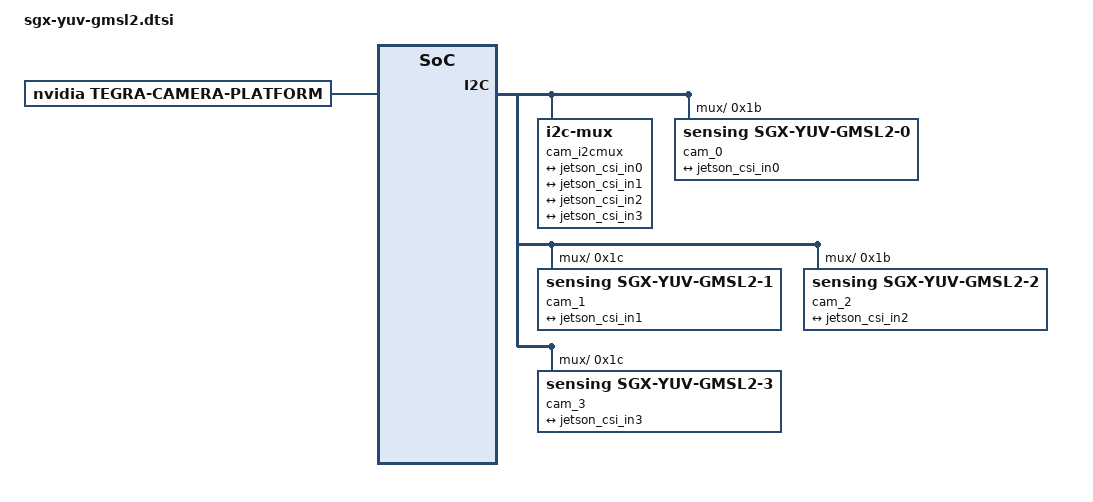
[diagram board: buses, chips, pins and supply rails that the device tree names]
/*
 * Copyright (c) 2022-2023, NVIDIA CORPORATION.  All rights reserved.
 *
 * This program is free software; you can redistribute it and/or modify
 * it under the terms of the GNU General Public License as published by
 * the Free Software Foundation; either version 2 of the License, or
 * (at your option) any later version.
 *
 * This program is distributed in the hope that it will be useful, but WITHOUT
 * ANY WARRANTY; without even the implied warranty of MERCHANTABILITY or
 * FITNESS FOR A PARTICULAR PURPOSE.  See the GNU General Public License for
 * more details.
 *
 * You should have received a copy of the GNU General Public License
 * along with this program.  If not, see <http://www.gnu.org/licenses/>.
 */

/ {
	tegra-capture-vi  {
		num-channels = <4>;
		ports {
			#address-cells = <1>;
			#size-cells = <0>;
			port@0 {
				reg = <0>;
				jetson_vi_in0: endpoint {
					vc-id = <0>;
					port-index = <0>;
					bus-width = <4>;
					remote-endpoint = <&jetson_csi_out0>;
				};
			};
			port@1 {
				reg = <1>;
				jetson_vi_in1: endpoint {
					vc-id = <1>;
					port-index = <0>;
					bus-width = <4>;
					remote-endpoint = <&jetson_csi_out1>;
				};
			};
			port@2 {
				reg = <2>;
				jetson_vi_in2: endpoint {
					vc-id = <0>;
					port-index = <2>;
					bus-width = <4>;
					remote-endpoint = <&jetson_csi_out2>;
				};
			};
			port@3 {
				reg = <3>;
				jetson_vi_in3: endpoint {
					vc-id = <1>;
					port-index = <2>;
					bus-width = <4>;
					remote-endpoint = <&jetson_csi_out3>;
				};
			};
		};
	};

	host1x@13e00000 {
		nvcsi@15a00000 {
			num-channels = <4>;
			#address-cells = <1>;
			#size-cells = <0>;
			channel@0 {
				reg = <0>;
				ports {
					#address-cells = <1>;
					#size-cells = <0>;
					port@0 {
						reg = <0>;
						jetson_csi_in0: endpoint@0 {
							port-index = <0>;
							bus-width = <4>;
							remote-endpoint = <&mipi_cam_out0>;
						};
					};
					port@1 {
						reg = <1>;
						jetson_csi_out0: endpoint@1 {
							remote-endpoint = <&jetson_vi_in0>;
						};
					};
				};
			};
			channel@1 {
				reg = <1>;
				ports {
					#address-cells = <1>;
					#size-cells = <0>;
					port@0 {
						reg = <0>;
						jetson_csi_in1: endpoint@2 {
							port-index = <0>;
							bus-width = <4>;
							remote-endpoint = <&mipi_cam_out1>;
						};
					};
					port@1 {
						reg = <1>;
						jetson_csi_out1: endpoint@3 {
							remote-endpoint = <&jetson_vi_in1>;
						};
					};
				};
			};
			channel@2 {
				reg = <2>;
				ports {
					#address-cells = <1>;
					#size-cells = <0>;
					port@0 {
						reg = <0>;
						jetson_csi_in2: endpoint@4 {
							port-index = <2>;
							bus-width = <4>;
							remote-endpoint = <&mipi_cam_out2>;
						};
					};
					port@1 {
						reg = <1>;
						jetson_csi_out2: endpoint@5 {
							remote-endpoint = <&jetson_vi_in2>;
						};
					};
				};
			};
			channel@3 {
				reg = <3>;
				ports {
					#address-cells = <1>;
					#size-cells = <0>;
					port@0 {
						reg = <0>;
						jetson_csi_in3: endpoint@6 {
							port-index = <2>;
							bus-width = <4>;
							remote-endpoint = <&mipi_cam_out3>;
						};
					};
					port@1 {
						reg = <1>;
						jetson_csi_out3: endpoint@7 {
							remote-endpoint = <&jetson_vi_in3>;
						};
					};
				};
			};
		};
	};

	cam_i2cmux {
		i2c@0 {
			cam_0@1b {
				compatible = "sensing,sgx-yuv-gmsl2-0";
				reg = <0x1b>;
				def-addr = <0x10>;
				devnode = "video0";

				/* Physical dimensions of sensor */
				physical_w = "15.0";
				physical_h = "12.5";

				sensor_model ="sgx-yuv-gmsl2";

				/* Defines number of frames to be dropped by driver internally after applying */
				/* sensor crop settings. Some sensors send corrupt frames after applying */
				/* crop co-ordinates */
				post_crop_frame_drop = "0";

				/* Convert Gain to unit of dB (decibel) befor passing to kernel driver */
				use_decibel_gain = "false";

				/* enable CID_SENSOR_MODE_ID for sensor modes selection */
				use_sensor_mode_id = "true";

				mode0 {/*mode SENSOR_MODE_1920X1080_CROP_30FPS*/
					mclk_khz = "24000";
					num_lanes = "4";
					tegra_sinterface = "serial_c";
					vc_id = "0";
					discontinuous_clk = "no";
					dpcm_enable = "false";
					cil_settletime = "0";
					dynamic_pixel_bit_depth = "16";
					csi_pixel_bit_depth = "16";
					mode_type = "yuv";
					pixel_phase = "uyvy";
					
					active_w = "1920";
					active_h = "1080";
					readout_orientation = "0";
					line_length = "2200";
					inherent_gain = "1";
					pix_clk_hz = "150000000";
					serdes_pix_clk_hz = "600000000";
					gain_factor = "1000";
					min_gain_val = "1"; /* dB */
					max_gain_val = "30000"; /* dB */
					step_gain_val = "300"; /* 0.3 */
					default_gain = "0";
					min_hdr_ratio = "1";
					max_hdr_ratio = "1";
					framerate_factor = "1000000";
					min_framerate = "30000000";
					max_framerate = "30000000";
					step_framerate = "1";
					default_framerate = "30000000";
					exposure_factor = "1000000";
					min_exp_time = "59"; /*us, 2 lines*/
					max_exp_time = "33333";
					step_exp_time = "1";
					default_exp_time = "33333";/* us */
					embedded_metadata_height = "0";
				};
				mode1 {//sg2-gmsl2-gw5xxx(1920*1536)
					mclk_khz = "24000";
					num_lanes = "4";
					tegra_sinterface = "serial_a";
					vc_id = "0";
					discontinuous_clk = "no";
					dpcm_enable = "false";
					cil_settletime = "0";
					dynamic_pixel_bit_depth = "16";
					csi_pixel_bit_depth = "16";
					mode_type = "yuv";
					pixel_phase = "uyvy";
					
					active_w = "1920";
					active_h = "1536";
					readout_orientation = "0";
					line_length = "2200";
					inherent_gain = "1";
					pix_clk_hz = "200000000";
					serdes_pix_clk_hz = "600000000";

					gain_factor = "1000";
					min_gain_val = "1"; /* dB */
					max_gain_val = "30000"; /* dB */
					step_gain_val = "300"; /* 0.3 */
					default_gain = "0";
					min_hdr_ratio = "1";
					max_hdr_ratio = "1";
					framerate_factor = "1000000";
					min_framerate = "30000000";
					max_framerate = "30000000";
					step_framerate = "1";
					default_framerate = "30000000";
					exposure_factor = "1000000";
					min_exp_time = "59"; /*us, 2 lines*/
					max_exp_time = "33333";
					step_exp_time = "1";
					default_exp_time = "33333";/* us */
					embedded_metadata_height = "0";
				};
				mode2 {//sg2-gmsl2-gw5xxx(2880*1860)
					mclk_khz = "24000";
					num_lanes = "4";
					tegra_sinterface = "serial_a";
					vc_id = "0";
					discontinuous_clk = "no";
					dpcm_enable = "false";
					cil_settletime = "0";
					dynamic_pixel_bit_depth = "16";
					csi_pixel_bit_depth = "16";
					mode_type = "yuv";
					pixel_phase = "uyvy";
				
					active_w = "2880";
					active_h = "1860";
					readout_orientation = "0";
					line_length = "3200";
					inherent_gain = "1";
					pix_clk_hz = "300000000";
					serdes_pix_clk_hz = "600000000";

					gain_factor = "1000";
					min_gain_val = "1"; /* dB */
					max_gain_val = "30000"; /* dB */
					step_gain_val = "300"; /* 0.3 */
					default_gain = "0";
					min_hdr_ratio = "1";
					max_hdr_ratio = "1";
					framerate_factor = "1000000";
					min_framerate = "30000000";
					max_framerate = "30000000";
					step_framerate = "1";
					default_framerate = "30000000";
					exposure_factor = "1000000";
					min_exp_time = "59"; /*us, 2 lines*/
					max_exp_time = "33333";
					step_exp_time = "1";
					default_exp_time = "33333";/* us */
					embedded_metadata_height = "0";
				};
				mode3 {//sg2-gmsl2-gw5xxx(3840*2160)
					mclk_khz = "24000";
					num_lanes = "4";
					tegra_sinterface = "serial_a";
					vc_id = "0";
					discontinuous_clk = "no";
					dpcm_enable = "false";
					cil_settletime = "0";
					dynamic_pixel_bit_depth = "16";
					csi_pixel_bit_depth = "16";
					mode_type = "yuv";
					pixel_phase = "uyvy";
					//
					active_w = "3840";
					active_h = "2160";
					readout_orientation = "0";
					line_length = "4200";
					inherent_gain = "1";
					pix_clk_hz = "320000000";
					serdes_pix_clk_hz = "600000000";

					gain_factor = "1000";
					min_gain_val = "1"; /* dB */
					max_gain_val = "30000"; /* dB */
					step_gain_val = "300"; /* 0.3 */
					default_gain = "0";
					min_hdr_ratio = "1";
					max_hdr_ratio = "1";
					framerate_factor = "1000000";
					min_framerate = "30000000";
					max_framerate = "30000000";
					step_framerate = "1";
					default_framerate = "30000000";
					exposure_factor = "1000000";
					min_exp_time = "59"; /*us, 2 lines*/
					max_exp_time = "33333";
					step_exp_time = "1";
					default_exp_time = "33333";/* us */
					embedded_metadata_height = "0";
				};
				ports {
					#address-cells = <1>;
					#size-cells = <0>;

					port@0 {
						reg = <0>;
						mipi_cam_out0: endpoint {
							vc-id = <0>;
							port-index = <0>;
							bus-width = <4>;
							remote-endpoint = <&jetson_csi_in0>;
						};
					};
				};	
				gmsl-link {
					src-csi-port = "b";
					dst-csi-port = "a";
					serdes-csi-link = "a";
					csi-mode = "1x4";
					st-vc = <0>;
					vc-id = <0>;
					num-lanes = <4>;
					streams = "ued-u1", "yuv16";
				};
			};
			cam_1@1c {
				compatible = "sensing,sgx-yuv-gmsl2-1";
				reg = <0x1c>;
				def-addr = <0x10>;
				devnode = "video1";

				/* Physical dimensions of sensor */
				physical_w = "15.0";
				physical_h = "12.5";

				sensor_model ="sgx-yuv-gmsl2";

				/* Defines number of frames to be dropped by driver internally after applying */
				/* sensor crop settings. Some sensors send corrupt frames after applying */
				/* crop co-ordinates */
				post_crop_frame_drop = "0";

				/* Convert Gain to unit of dB (decibel) befor passing to kernel driver */
				use_decibel_gain = "false";

				/* enable CID_SENSOR_MODE_ID for sensor modes selection */
				use_sensor_mode_id = "true";

				mode0 {/*mode SENSOR_MODE_1920X1080_CROP_30FPS*/
					mclk_khz = "24000";
					num_lanes = "4";
					tegra_sinterface = "serial_a";
					vc_id = "1";
					discontinuous_clk = "no";
					dpcm_enable = "false";
					cil_settletime = "0";
					dynamic_pixel_bit_depth = "16";
					csi_pixel_bit_depth = "16";
					mode_type = "yuv";
					pixel_phase = "uyvy";
					
					active_w = "1920";
					active_h = "1080";
					readout_orientation = "0";
					line_length = "2200";
					inherent_gain = "1";
					pix_clk_hz = "150000000";
					serdes_pix_clk_hz = "600000000";
					gain_factor = "1000";
					min_gain_val = "1"; /* dB */
					max_gain_val = "30000"; /* dB */
					step_gain_val = "300"; /* 0.3 */
					default_gain = "0";
					min_hdr_ratio = "1";
					max_hdr_ratio = "1";
					framerate_factor = "1000000";
					min_framerate = "30000000";
					max_framerate = "30000000";
					step_framerate = "1";
					default_framerate = "30000000";
					exposure_factor = "1000000";
					min_exp_time = "59"; /*us, 2 lines*/
					max_exp_time = "33333";
					step_exp_time = "1";
					default_exp_time = "33333";/* us */
					embedded_metadata_height = "0";
				};
				
				mode1 {//sg2-gmsl2-gw5xxx(1920*1536)
					mclk_khz = "24000";
					num_lanes = "4";
					tegra_sinterface = "serial_c";
					vc_id = "1";
					discontinuous_clk = "no";
					dpcm_enable = "false";
					cil_settletime = "0";
					dynamic_pixel_bit_depth = "16";
					csi_pixel_bit_depth = "16";
					mode_type = "yuv";
					pixel_phase = "uyvy";
					
					active_w = "1920";
					active_h = "1536";
					readout_orientation = "0";
					line_length = "2200";
					inherent_gain = "1";
					pix_clk_hz = "200000000";
					serdes_pix_clk_hz = "600000000";

					gain_factor = "1000";
					min_gain_val = "1"; /* dB */
					max_gain_val = "30000"; /* dB */
					step_gain_val = "300"; /* 0.3 */
					default_gain = "0";
					min_hdr_ratio = "1";
					max_hdr_ratio = "1";
					framerate_factor = "1000000";
					min_framerate = "30000000";
					max_framerate = "30000000";
					step_framerate = "1";
					default_framerate = "30000000";
					exposure_factor = "1000000";
					min_exp_time = "59"; /*us, 2 lines*/
					max_exp_time = "33333";
					step_exp_time = "1";
					default_exp_time = "33333";/* us */
					embedded_metadata_height = "0";
				};
				mode2 {//sg2-gmsl2-gw5xxx(2880*1860)
					mclk_khz = "24000";
					num_lanes = "4";
					tegra_sinterface = "serial_a";
					vc_id = "1";
					discontinuous_clk = "no";
					dpcm_enable = "false";
					cil_settletime = "0";
					dynamic_pixel_bit_depth = "16";
					csi_pixel_bit_depth = "16";
					mode_type = "yuv";
					pixel_phase = "uyvy";
				
					active_w = "2880";
					active_h = "1860";
					readout_orientation = "0";
					line_length = "3200";
					inherent_gain = "1";
					pix_clk_hz = "300000000";
					serdes_pix_clk_hz = "600000000";

					gain_factor = "1000";
					min_gain_val = "1"; /* dB */
					max_gain_val = "30000"; /* dB */
					step_gain_val = "300"; /* 0.3 */
					default_gain = "0";
					min_hdr_ratio = "1";
					max_hdr_ratio = "1";
					framerate_factor = "1000000";
					min_framerate = "30000000";
					max_framerate = "30000000";
					step_framerate = "1";
					default_framerate = "30000000";
					exposure_factor = "1000000";
					min_exp_time = "59"; /*us, 2 lines*/
					max_exp_time = "33333";
					step_exp_time = "1";
					default_exp_time = "33333";/* us */
					embedded_metadata_height = "0";
				};
				mode3 {//sg2-gmsl2-gw5xxx(3840*2160)
					mclk_khz = "24000";
					num_lanes = "4";
					tegra_sinterface = "serial_a";
					vc_id = "1";
					discontinuous_clk = "no";
					dpcm_enable = "false";
					cil_settletime = "0";
					dynamic_pixel_bit_depth = "16";
					csi_pixel_bit_depth = "16";
					mode_type = "yuv";
					pixel_phase = "uyvy";
					//
					active_w = "3840";
					active_h = "2160";
					readout_orientation = "0";
					line_length = "4200";
					inherent_gain = "1";
					pix_clk_hz = "320000000";
					serdes_pix_clk_hz = "600000000";

					gain_factor = "1000";
					min_gain_val = "1"; /* dB */
					max_gain_val = "30000"; /* dB */
					step_gain_val = "300"; /* 0.3 */
					default_gain = "0";
					min_hdr_ratio = "1";
					max_hdr_ratio = "1";
					framerate_factor = "1000000";
					min_framerate = "30000000";
					max_framerate = "30000000";
					step_framerate = "1";
					default_framerate = "30000000";
					exposure_factor = "1000000";
					min_exp_time = "59"; /*us, 2 lines*/
					max_exp_time = "33333";
					step_exp_time = "1";
					default_exp_time = "33333";/* us */
					embedded_metadata_height = "0";
				};
				ports {
					#address-cells = <1>;
					#size-cells = <0>;

					port@0 {
						reg = <0>;
						mipi_cam_out1: endpoint {
							vc-id = <1>;
							port-index = <0>;
							bus-width = <4>;
							remote-endpoint = <&jetson_csi_in1>;
						};
					};
				};	
				gmsl-link {
					src-csi-port = "b";
					dst-csi-port = "a";
					serdes-csi-link = "b";
					csi-mode = "1x4";
					st-vc = <0>;
					vc-id = <1>;
					num-lanes = <4>;
					streams = "ued-u1", "yuv16";
				};
			};
		};
		i2c@1 {
			cam_2@1b {
				compatible = "sensing,sgx-yuv-gmsl2-2";
				reg = <0x1b>;
				def-addr = <0x10>;
				devnode = "video2";

				/* Physical dimensions of sensor */
				physical_w = "15.0";
				physical_h = "12.5";

				sensor_model ="sgx-yuv-gmsl2";

				/* Defines number of frames to be dropped by driver internally after applying */
				/* sensor crop settings. Some sensors send corrupt frames after applying */
				/* crop co-ordinates */
				post_crop_frame_drop = "0";

				/* Convert Gain to unit of dB (decibel) befor passing to kernel driver */
				use_decibel_gain = "false";

				/* enable CID_SENSOR_MODE_ID for sensor modes selection */
				use_sensor_mode_id = "true";

				mode0 {/*mode SENSOR_MODE_1920X1080_CROP_30FPS*/
					mclk_khz = "24000";
					num_lanes = "4";
					tegra_sinterface = "serial_c";
					vc_id = "0";
					discontinuous_clk = "no";
					dpcm_enable = "false";
					cil_settletime = "0";
					dynamic_pixel_bit_depth = "16";
					csi_pixel_bit_depth = "16";
					mode_type = "yuv";
					pixel_phase = "uyvy";
					
					active_w = "1920";
					active_h = "1080";
					readout_orientation = "0";
					line_length = "2200";
					inherent_gain = "1";
					pix_clk_hz = "150000000";
					serdes_pix_clk_hz = "600000000";
					gain_factor = "1000";
					min_gain_val = "1"; /* dB */
					max_gain_val = "30000"; /* dB */
					step_gain_val = "300"; /* 0.3 */
					default_gain = "0";
					min_hdr_ratio = "1";
					max_hdr_ratio = "1";
					framerate_factor = "1000000";
					min_framerate = "30000000";
					max_framerate = "30000000";
					step_framerate = "1";
					default_framerate = "30000000";
					exposure_factor = "1000000";
					min_exp_time = "59"; /*us, 2 lines*/
					max_exp_time = "33333";
					step_exp_time = "1";
					default_exp_time = "33333";/* us */
					embedded_metadata_height = "0";
				};
				mode1 {//sg2-gmsl2-gw5xxx(1920*1536)
					mclk_khz = "24000";
					num_lanes = "4";
					tegra_sinterface = "serial_c";
					vc_id = "0";
					discontinuous_clk = "no";
					dpcm_enable = "false";
					cil_settletime = "0";
					dynamic_pixel_bit_depth = "16";
					csi_pixel_bit_depth = "16";
					mode_type = "yuv";
					pixel_phase = "uyvy";
					
					active_w = "1920";
					active_h = "1536";
					readout_orientation = "0";
					line_length = "2200";
					inherent_gain = "1";
					pix_clk_hz = "200000000";
					serdes_pix_clk_hz = "600000000";

					gain_factor = "1000";
					min_gain_val = "1"; /* dB */
					max_gain_val = "30000"; /* dB */
					step_gain_val = "300"; /* 0.3 */
					default_gain = "0";
					min_hdr_ratio = "1";
					max_hdr_ratio = "1";
					framerate_factor = "1000000";
					min_framerate = "30000000";
					max_framerate = "30000000";
					step_framerate = "1";
					default_framerate = "30000000";
					exposure_factor = "1000000";
					min_exp_time = "59"; /*us, 2 lines*/
					max_exp_time = "33333";
					step_exp_time = "1";
					default_exp_time = "33333";/* us */
					embedded_metadata_height = "0";
				};
				mode2 {//sg2-gmsl2-gw5xxx(2880*1860)
					mclk_khz = "24000";
					num_lanes = "4";
					tegra_sinterface = "serial_c";
					vc_id = "0";
					discontinuous_clk = "no";
					dpcm_enable = "false";
					cil_settletime = "0";
					dynamic_pixel_bit_depth = "16";
					csi_pixel_bit_depth = "16";
					mode_type = "yuv";
					pixel_phase = "uyvy";
				
					active_w = "2880";
					active_h = "1860";
					readout_orientation = "0";
					line_length = "3200";
					inherent_gain = "1";
					pix_clk_hz = "300000000";
					serdes_pix_clk_hz = "600000000";

					gain_factor = "1000";
					min_gain_val = "1"; /* dB */
					max_gain_val = "30000"; /* dB */
					step_gain_val = "300"; /* 0.3 */
					default_gain = "0";
					min_hdr_ratio = "1";
					max_hdr_ratio = "1";
					framerate_factor = "1000000";
					min_framerate = "30000000";
					max_framerate = "30000000";
					step_framerate = "1";
					default_framerate = "30000000";
					exposure_factor = "1000000";
					min_exp_time = "59"; /*us, 2 lines*/
					max_exp_time = "33333";
					step_exp_time = "1";
					default_exp_time = "33333";/* us */
					embedded_metadata_height = "0";
				};
				mode3 {//sg2-gmsl2-gw5xxx(3840*2160)
					mclk_khz = "24000";
					num_lanes = "4";
					tegra_sinterface = "serial_c";
					vc_id = "0";
					discontinuous_clk = "no";
					dpcm_enable = "false";
					cil_settletime = "0";
					dynamic_pixel_bit_depth = "16";
					csi_pixel_bit_depth = "16";
					mode_type = "yuv";
					pixel_phase = "uyvy";
					//
					active_w = "3840";
					active_h = "2160";
					readout_orientation = "0";
					line_length = "4200";
					inherent_gain = "1";
					pix_clk_hz = "320000000";
					serdes_pix_clk_hz = "600000000";

					gain_factor = "1000";
					min_gain_val = "1"; /* dB */
					max_gain_val = "30000"; /* dB */
					step_gain_val = "300"; /* 0.3 */
					default_gain = "0";
					min_hdr_ratio = "1";
					max_hdr_ratio = "1";
					framerate_factor = "1000000";
					min_framerate = "30000000";
					max_framerate = "30000000";
					step_framerate = "1";
					default_framerate = "30000000";
					exposure_factor = "1000000";
					min_exp_time = "59"; /*us, 2 lines*/
					max_exp_time = "33333";
					step_exp_time = "1";
					default_exp_time = "33333";/* us */
					embedded_metadata_height = "0";
				};
				ports {
					#address-cells = <1>;
					#size-cells = <0>;

					port@0 {
						reg = <0>;
						mipi_cam_out2: endpoint {
							vc-id = <0>;
							port-index = <2>;
							bus-width = <4>;
							remote-endpoint = <&jetson_csi_in2>;
						};
					};
				};	
				gmsl-link {
					src-csi-port = "b";
					dst-csi-port = "a";
					serdes-csi-link = "a";
					csi-mode = "1x4";
					st-vc = <0>;
					vc-id = <0>;
					num-lanes = <4>;
					streams = "ued-u1", "yuv16";
				};
			};
			cam_3@1c {
				compatible = "sensing,sgx-yuv-gmsl2-3";
				reg = <0x1c>;
				def-addr = <0x10>;
				devnode = "video3";

				/* Physical dimensions of sensor */
				physical_w = "15.0";
				physical_h = "12.5";

				sensor_model ="sgx-yuv-gmsl2";

				/* Defines number of frames to be dropped by driver internally after applying */
				/* sensor crop settings. Some sensors send corrupt frames after applying */
				/* crop co-ordinates */
				post_crop_frame_drop = "0";

				/* Convert Gain to unit of dB (decibel) befor passing to kernel driver */
				use_decibel_gain = "false";

				/* enable CID_SENSOR_MODE_ID for sensor modes selection */
				use_sensor_mode_id = "true";

				mode0 {/*mode SENSOR_MODE_1920X1080_CROP_30FPS*/
					mclk_khz = "24000";
					num_lanes = "4";
					tegra_sinterface = "serial_c";
					vc_id = "1";
					discontinuous_clk = "no";
					dpcm_enable = "false";
					cil_settletime = "0";
					dynamic_pixel_bit_depth = "16";
					csi_pixel_bit_depth = "16";
					mode_type = "yuv";
					pixel_phase = "uyvy";
					
					active_w = "1920";
					active_h = "1080";
					readout_orientation = "0";
					line_length = "2200";
					inherent_gain = "1";
					pix_clk_hz = "150000000";
					serdes_pix_clk_hz = "600000000";
					gain_factor = "1000";
					min_gain_val = "1"; /* dB */
					max_gain_val = "30000"; /* dB */
					step_gain_val = "300"; /* 0.3 */
					default_gain = "0";
					min_hdr_ratio = "1";
					max_hdr_ratio = "1";
					framerate_factor = "1000000";
					min_framerate = "30000000";
					max_framerate = "30000000";
					step_framerate = "1";
					default_framerate = "30000000";
					exposure_factor = "1000000";
					min_exp_time = "59"; /*us, 2 lines*/
					max_exp_time = "33333";
					step_exp_time = "1";
					default_exp_time = "33333";/* us */
					embedded_metadata_height = "0";
				};
				
				mode1 {//sg2-gmsl2-gw5xxx(1920*1536)
					mclk_khz = "24000";
					num_lanes = "4";
					tegra_sinterface = "serial_c";
					vc_id = "1";
					discontinuous_clk = "no";
					dpcm_enable = "false";
					cil_settletime = "0";
					dynamic_pixel_bit_depth = "16";
					csi_pixel_bit_depth = "16";
					mode_type = "yuv";
					pixel_phase = "uyvy";
					
					active_w = "1920";
					active_h = "1536";
					readout_orientation = "0";
					line_length = "2200";
					inherent_gain = "1";
					pix_clk_hz = "200000000";
					serdes_pix_clk_hz = "600000000";

					gain_factor = "1000";
					min_gain_val = "1"; /* dB */
					max_gain_val = "30000"; /* dB */
					step_gain_val = "300"; /* 0.3 */
					default_gain = "0";
					min_hdr_ratio = "1";
					max_hdr_ratio = "1";
					framerate_factor = "1000000";
					min_framerate = "30000000";
					max_framerate = "30000000";
					step_framerate = "1";
					default_framerate = "30000000";
					exposure_factor = "1000000";
					min_exp_time = "59"; /*us, 2 lines*/
					max_exp_time = "33333";
					step_exp_time = "1";
					default_exp_time = "33333";/* us */
					embedded_metadata_height = "0";
				};
				mode2 {//sg2-gmsl2-gw5xxx(2880*1860)
					mclk_khz = "24000";
					num_lanes = "4";
					tegra_sinterface = "serial_c";
					vc_id = "1";
					discontinuous_clk = "no";
					dpcm_enable = "false";
					cil_settletime = "0";
					dynamic_pixel_bit_depth = "16";
					csi_pixel_bit_depth = "16";
					mode_type = "yuv";
					pixel_phase = "uyvy";
				
					active_w = "2880";
					active_h = "1860";
					readout_orientation = "0";
					line_length = "3200";
					inherent_gain = "1";
					pix_clk_hz = "300000000";
					serdes_pix_clk_hz = "600000000";

					gain_factor = "1000";
					min_gain_val = "1"; /* dB */
					max_gain_val = "30000"; /* dB */
					step_gain_val = "300"; /* 0.3 */
					default_gain = "0";
					min_hdr_ratio = "1";
					max_hdr_ratio = "1";
					framerate_factor = "1000000";
					min_framerate = "30000000";
					max_framerate = "30000000";
					step_framerate = "1";
					default_framerate = "30000000";
					exposure_factor = "1000000";
					min_exp_time = "59"; /*us, 2 lines*/
					max_exp_time = "33333";
					step_exp_time = "1";
					default_exp_time = "33333";/* us */
					embedded_metadata_height = "0";
				};
				mode3 {//sg2-gmsl2-gw5xxx(3840*2160)
					mclk_khz = "24000";
					num_lanes = "4";
					tegra_sinterface = "serial_c";
					vc_id = "1";
					discontinuous_clk = "no";
					dpcm_enable = "false";
					cil_settletime = "0";
					dynamic_pixel_bit_depth = "16";
					csi_pixel_bit_depth = "16";
					mode_type = "yuv";
					pixel_phase = "uyvy";
					//
					active_w = "3840";
					active_h = "2160";
					readout_orientation = "0";
					line_length = "4200";
					inherent_gain = "1";
					pix_clk_hz = "320000000";
					serdes_pix_clk_hz = "600000000";

					gain_factor = "1000";
					min_gain_val = "1"; /* dB */
					max_gain_val = "30000"; /* dB */
					step_gain_val = "300"; /* 0.3 */
					default_gain = "0";
					min_hdr_ratio = "1";
					max_hdr_ratio = "1";
					framerate_factor = "1000000";
					min_framerate = "30000000";
					max_framerate = "30000000";
					step_framerate = "1";
					default_framerate = "30000000";
					exposure_factor = "1000000";
					min_exp_time = "59"; /*us, 2 lines*/
					max_exp_time = "33333";
					step_exp_time = "1";
					default_exp_time = "33333";/* us */
					embedded_metadata_height = "0";
				};
				ports {
					#address-cells = <1>;
					#size-cells = <0>;

					port@0 {
						reg = <0>;
						mipi_cam_out3: endpoint {
							vc-id = <1>;
							port-index = <2>;
							bus-width = <4>;
							remote-endpoint = <&jetson_csi_in3>;
						};
					};
				};	
				gmsl-link {
					src-csi-port = "b";
					dst-csi-port = "a";
					serdes-csi-link = "b";
					csi-mode = "1x4";
					st-vc = <0>;
					vc-id = <1>;
					num-lanes = <4>;
					streams = "ued-u1", "yuv16";
				};
			};
		};
	};
};

/ {

	tegra-camera-platform {
		compatible = "nvidia, tegra-camera-platform";

		/**
		* Physical settings to calculate max ISO BW
		*
		* num_csi_lanes = <>;
		* Total number of CSI lanes when all cameras are active
		*
		* max_lane_speed = <>;
		* Max lane speed in Kbit/s
		*
		* min_bits_per_pixel = <>;
		* Min bits per pixel
		*
		* vi_peak_byte_per_pixel = <>;
		* Max byte per pixel for the VI ISO case
		*
		* vi_bw_margin_pct = <>;
		* Vi bandwidth margin in percentage
		*
		* max_pixel_rate = <>;
		* Max pixel rate in Kpixel/s for the ISP ISO case
		*
		* isp_peak_byte_per_pixel = <>;
		* Max byte per pixel for the ISP ISO case
		*
		* isp_bw_margin_pct = <>;
		* Isp bandwidth margin in percentage
		*/
		num_csi_lanes = <8>;
		max_lane_speed = <2500000>;
		min_bits_per_pixel = <10>;
		vi_peak_byte_per_pixel = <2>;
		vi_bw_margin_pct = <25>;
		max_pixel_rate = <7500000>;
		isp_peak_byte_per_pixel = <5>;
		isp_bw_margin_pct = <25>;

		/**
		 * The general guideline for naming badge_info contains 3 parts, and is as follows,
		 * The first part is the camera_board_id for the module; if the module is in a FFD
		 * platform, then use the platform name for this part.
		 * The second part contains the position of the module, ex. "rear" or "front".
		 * The third part contains the last 6 characters of a part number which is found
		 * in the module's specsheet from the vendor.
		 */
		modules {
			module0 {
				badge = "cam0_position";
				position = "position";
				orientation = "1";
				drivernode0 {
					pcl_id = "v4l2_sensor";
					devname = "sgx-yuv-gmsl2 9-001b";
					proc-device-tree = "/proc/device-tree/cam_i2cmux/i2c@0/cam_0@1b";
				};
			};
			module1 {
				badge = "cam1_position";
				position = "position";
				orientation = "1";
				drivernode0 {
					pcl_id = "v4l2_sensor";
					devname = "sgx-yuv-gmsl2 9-001c";
					proc-device-tree = "/proc/device-tree/cam_i2cmux/i2c@0/cam_1@1c";
				};
			};
			module2 {
				badge = "cam2_position";
				position = "position";
				orientation = "1";
				drivernode0 {
					pcl_id = "v4l2_sensor";
					devname = "sgx-yuv-gmsl2 10-001b";
					proc-device-tree = "/proc/device-tree/cam_i2cmux/i2c@1/cam_2@1b";
				};
			};
			module3 {
				badge = "cam3_position";
				position = "position";
				orientation = "1";
				drivernode0 {
					pcl_id = "v4l2_sensor";
					devname = "sgx-yuv-gmsl2 10-001c";
					proc-device-tree = "/proc/device-tree/cam_i2cmux/i2c@1/cam_3@1c";
				};
			};
		};
	};
};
